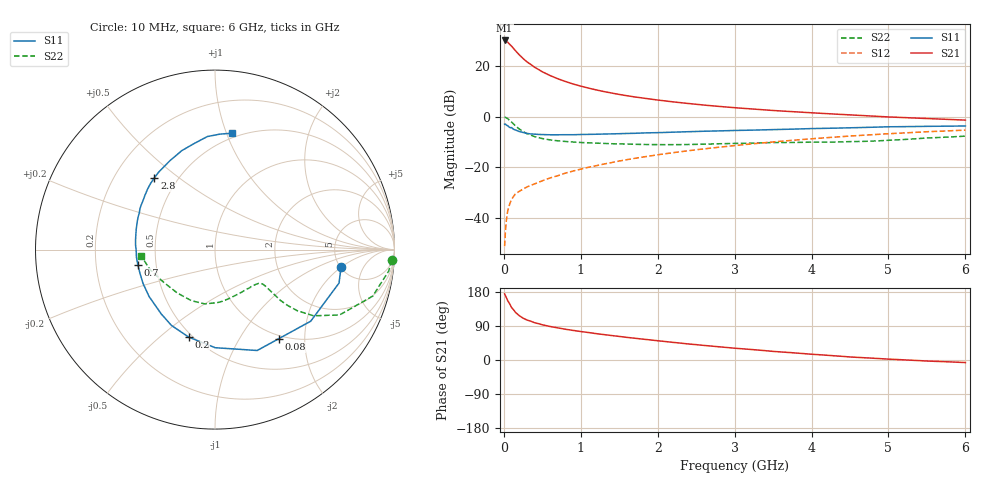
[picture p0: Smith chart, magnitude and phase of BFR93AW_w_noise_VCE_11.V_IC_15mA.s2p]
! Infineon Technologies  Discrete & RF Semiconductors
! BFR93AW
! VCE =  11. V,  IC =  15 mA
! Common Emitter S-Parameters:  Jan 2017
# GHz  S  MA  R  50
!  f  S11  S21  S12  S22
! GHz  MAG  ANG  MAG  ANG  MAG  ANG  MAG  ANG
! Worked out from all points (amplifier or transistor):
!   77 points, 10 MHz to 6 GHz, reference 50 ohm
!   highest |S21| = 30.3 dB at 10 MHz (marker M1)
!   |S21| within 3 dB of that: start of sweep to 121.4 MHz
!   unconditionally stable (mu >= 1): 810 MHz to 2.084 GHz
!   at 130 MHz: K = 0.36, MSG = 29.2 dB, |S12| = -31.5 dB
!   at 2.2 GHz: K = 0.99, MSG = 10.1 dB, |S12| = -14.3 dB
!   at 6 GHz: K = 0.85, MSG = 2.0 dB, |S12| = -5.3 dB
!   lowest NFmin = 1.37 dB at 450 MHz
!   S11 on the Smith chart (normalised r, x): 10 MHz: 5.10, -1.95; 80 MHz: 0.95, -1.50; 200 MHz: 0.48, -0.63; 700 MHz: 0.39, -0.08; 2.8 GHz: 0.37, +0.41; 6 GHz: 0.46, +1.05
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0.01  0.7089 -7.7  32.61 174.5  0.0027 92.1  0.9862 -3.4
0.02  0.7158 -15.1  32.51 170.1  0.0051 81.3  0.9754 -7.0
0.05  0.666 -36.8  30.2 156.6  0.0135 71.3  0.9165 -16.4
0.08  0.6103 -54.5  26.89 146.6  0.0191 66.3  0.8327 -22.8
0.1  0.6093 -67.3  25.23 138.6  0.0229 64.3  0.7835 -27.7
0.15  0.5466 -89.9  20.53 125.9  0.0293 58.4  0.661 -33.9
0.2  0.5091 -106.7  16.95 117.1  0.0331 55.8  0.5711 -36.6
0.25  0.4871 -119.9  14.3 110.4  0.0366 55.2  0.5082 -37.6
0.3  0.4672 -129.8  12.28 105.6  0.0404 55.5  0.4608 -37.8
0.4  0.4508 -144.5  9.575 98.3  0.0464 57.5  0.4031 -37.0
0.5  0.443 -154.9  7.791 92.9  0.0535 59.8  0.3689 -36.4
0.6  0.4383 -162.7  6.578 88.5  0.0608 61.4  0.3469 -35.9
0.7  0.4381 -168.9  5.679 84.8  0.0674 63.0  0.333 -35.8
0.9  0.4391 -179.4  4.463 78.1  0.0834 65.0  0.3149 -36.8
1.1  0.4463 172.4  3.7 72.5  0.0993 66.5  0.3036 -38.9
1.5  0.4608 159.9  2.769 62.2  0.1321 67.0  0.2882 -45.8
2.1  0.488 144.5  2.056 48.7  0.1844 64.9  0.279 -61.2
2.8  0.5236 130.1  1.601 34.8  0.2484 60.6  0.2908 -81.7
3.1  0.5369 124.1  1.472 29.6  0.2769 58.1  0.2965 -89.9
4.1  0.5852 106.9  1.174 13.9  0.3744 48.7  0.3128 -117.9
5.1  0.6334 92.5  0.976 1.4  0.4681 37.6  0.3463 -151.5
6  0.6554 81.6  0.857 -6.7  0.5422 27.1  0.4121 -174.9
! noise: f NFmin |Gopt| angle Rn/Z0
0.45  1.37  0.12  133  0.13
0.9  1.66  0.23  164  0.14
1.9  2.67  0.47  -144  0.2
2.4  3.3  0.54  -129  0.4
